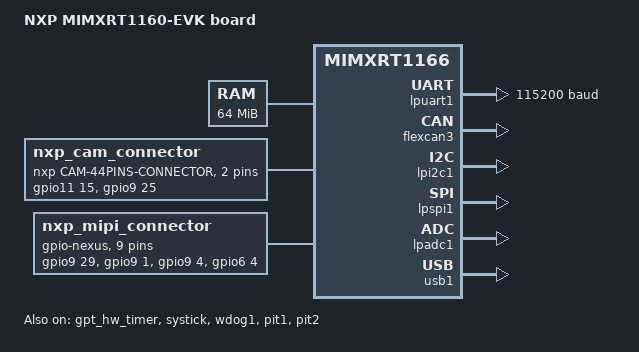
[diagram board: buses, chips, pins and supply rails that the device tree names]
/*
 * Copyright 2021,2024 NXP
 *
 * SPDX-License-Identifier: Apache-2.0
 */

/dts-v1/;

#include <nxp/nxp_rt1160_cm7.dtsi>
#include "mimxrt1160_evk.dtsi"

/ {
	model = "NXP MIMXRT1160-EVK board";
	compatible = "nxp,mimxrt1166";

	chosen {
		zephyr,sram = &sdram0;
		zephyr,dtcm = &dtcm;
		zephyr,itcm = &itcm;
		zephyr,console = &lpuart1;
		zephyr,shell-uart = &lpuart1;
		zephyr,canbus = &flexcan3;
		zephyr,flash-controller = &is25wp128;
		zephyr,flash = &is25wp128;
		zephyr,code-partition = &slot0_partition;
		zephyr,uart-mcumgr = &lpuart1;
		zephyr,cpu1-region = &ocram;
		zephyr,ipc = &mailbox_a;
	};

	sdram0: memory@80000000 {
		/* Winbond W9825G6KH-5I */
		device_type = "memory";
		reg = <0x80000000 DT_SIZE_M(64)>;
	};

	aliases {
		watchdog0 = &wdog1;
	};

	/*
	 * This node describes the GPIO pins mapping of the 44-pin camera
	 * connector, J2 on the EVK. This camera interface is supported
	 * on several NXP RT11xx EVKs, such as RT1170 and RT1160 EVK and
	 * is used with an ov5640 camera module available as a Zephyr shield
	 */
	nxp_cam_connector: cam-connector {
		compatible = "nxp,cam-44pins-connector";
		#gpio-cells = <2>;
		gpio-map-mask = <0xffffffff 0xffffffc0>;
		gpio-map-pass-thru = <0 0x3f>;
		gpio-map =	<9 0 &gpio11 15 0>,	/* Pin 9, RESETB */
				<17 0 &gpio9 25  0>;	/* Pin 17, PWDN */
	};

	/*
	 * This node describes the GPIO pins of the MIPI FPC interface,
	 * J48 on the EVK. This interface is standard to several
	 * NXP EVKs, and is used with several MIPI displays
	 * (available as zephyr shields)
	 */
	 nxp_mipi_connector: mipi-connector {
		compatible = "gpio-nexus";
		#gpio-cells = <2>;
		gpio-map-mask = <0xffffffff 0xffffffc0>;
		gpio-map-pass-thru = <0 0x3f>;
		gpio-map =	<0  0 &gpio9 29 0>,	/* Pin 1, LEDK */
				<21 0 &gpio9 1  0>,	/* Pin 21, RESET */
				<22 0 &gpio9 4  0>,	/* Pin 22, LPTE */
				<26 0 &gpio6 4  0>,	/* Pin 26, CTP_I2C SDA */
				<27 0 &gpio6 5  0>,	/* Pin 27, CTP_I2C SCL */
				<28 0 &gpio9 0  0>,	/* Pin 28, CTP_RST */
				<29 0 &gpio2 31 0>,	/* Pin 29, CTP_INT */
				<32 0 &gpio11 16 0>,	/* Pin 32, PWR_EN */
				<34 0 &gpio9 29 0>;	/* Pin 34, BL_PWM */
	};
};

&lpuart1 {
	status = "okay";
	current-speed = <115200>;
};

&flexcan3 {
	status = "okay";
	can-transceiver {
		max-bitrate = <5000000>;
	};
};

&lpi2c1 {
	status = "okay";
};

&lpspi1 {
	status = "okay";
};

/* GPT and Systick are enabled. If power management is enabled, the GPT
 * timer will be used instead of systick, as allows the core clock to
 * be gated.
 */
&gpt_hw_timer {
	status = "okay";
};

&systick {
	status = "okay";
};

&lpadc1 {
	status = "okay";
};

&wdog1 {
	status = "okay";
};

&edma0 {
	status = "okay";
};

zephyr_udc0: &usb1 {
	status = "okay";
};

&mailbox_a {
	status = "okay";
};

&pit1 {
	status = "okay";
};

&pit2 {
	status = "okay";
};

nxp_cam_i2c: &lpi2c6 {};

nxp_mipi_csi: &mipi_csi2rx {};

nxp_csi: &csi {};

zephyr_lcdif: &lcdif {};

zephyr_mipi_dsi: &mipi_dsi {
	dphy-ref-frequency = <24000000>;
};

nxp_mipi_i2c: &lpi2c5 {
	pinctrl-0 = <&pinmux_lpi2c5>;
	pinctrl-names = "default";
	#address-cells = <1>;
	#size-cells = <0>;
};
